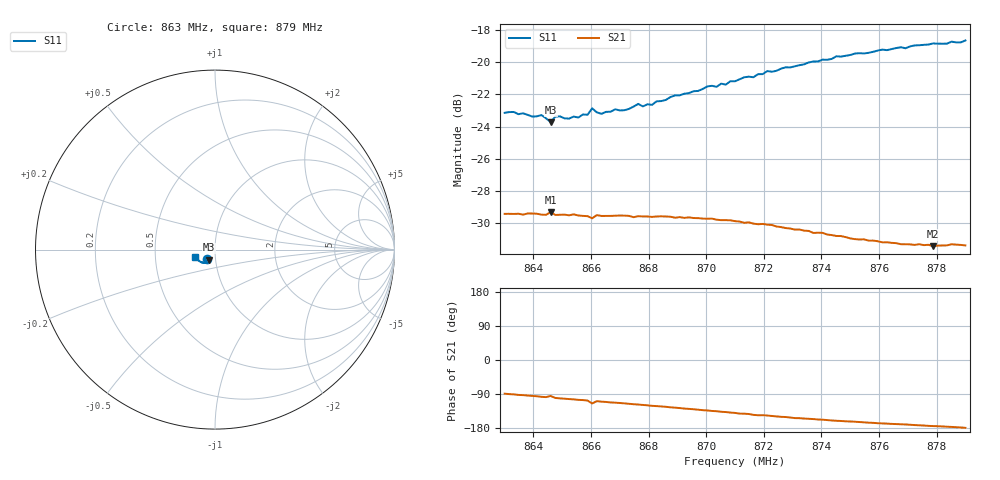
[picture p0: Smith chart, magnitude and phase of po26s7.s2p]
# HZ S RI R 50
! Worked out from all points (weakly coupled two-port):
!   101 points, 863 MHz to 879 MHz, reference 50 ohm
!   highest |S21| = -29.31 dB at 864.6 MHz (marker M1); lowest = -31.4 dB at 877.88 MHz (marker M2)
!   lowest |S11| = -23.7 dB at 864.6 MHz (marker M3), VSWR 1.14, Z = 46.5 - j5.25 ohm
!   |S11| at or under -10 dB: start of sweep to end of sweep
!   S12 and S22 are empty: the file has one direction only
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8.63e8  -0.0435 -0.0543  0.000683 -0.0338  0 0  0 0
8.6396e8  -0.04 -0.0547  -0.00283 -0.0338  0 0  0 0
8.6428e8  -0.0399 -0.0557  -0.00422 -0.0333  0 0  0 0
8.646e8  -0.033 -0.0561  -0.00293 -0.0341  0 0  0 0
8.6476e8  -0.0382 -0.0559  -0.00591 -0.033  0 0  0 0
8.6524e8  -0.0361 -0.0562  -0.00758 -0.0326  0 0  0 0
8.6572e8  -0.0366 -0.0583  -0.00905 -0.0321  0 0  0 0
8.6588e8  -0.0364 -0.0582  -0.00972 -0.0318  0 0  0 0
8.6604e8  -0.0405 -0.0594  -0.0137 -0.0297  0 0  0 0
8.6636e8  -0.0359 -0.059  -0.0114 -0.0313  0 0  0 0
8.6684e8  -0.0362 -0.0615  -0.0128 -0.0308  0 0  0 0
8.6716e8  -0.0352 -0.0615  -0.0138 -0.0304  0 0  0 0
8.6764e8  -0.0381 -0.0637  -0.0153 -0.0295  0 0  0 0
8.678e8  -0.0368 -0.0629  -0.0159 -0.0291  0 0  0 0
8.6844e8  -0.0372 -0.0659  -0.0179 -0.028  0 0  0 0
8.7004e8  -0.0447 -0.0712  -0.0223 -0.0238  0 0  0 0
8.7036e8  -0.0448 -0.0709  -0.023 -0.0228  0 0  0 0
8.71e8  -0.0501 -0.0714  -0.0244 -0.0208  0 0  0 0
8.7372e8  -0.0687 -0.0733  -0.0269 -0.0121  0 0  0 0
8.7644e8  -0.0916 -0.0606  -0.0269 -0.00542  0 0  0 0
8.7788e8  -0.1031 -0.0494  -0.0267 -0.00264  0 0  0 0
8.79e8  -0.1102 -0.0386  -0.027 -0.000468  0 0  0 0
